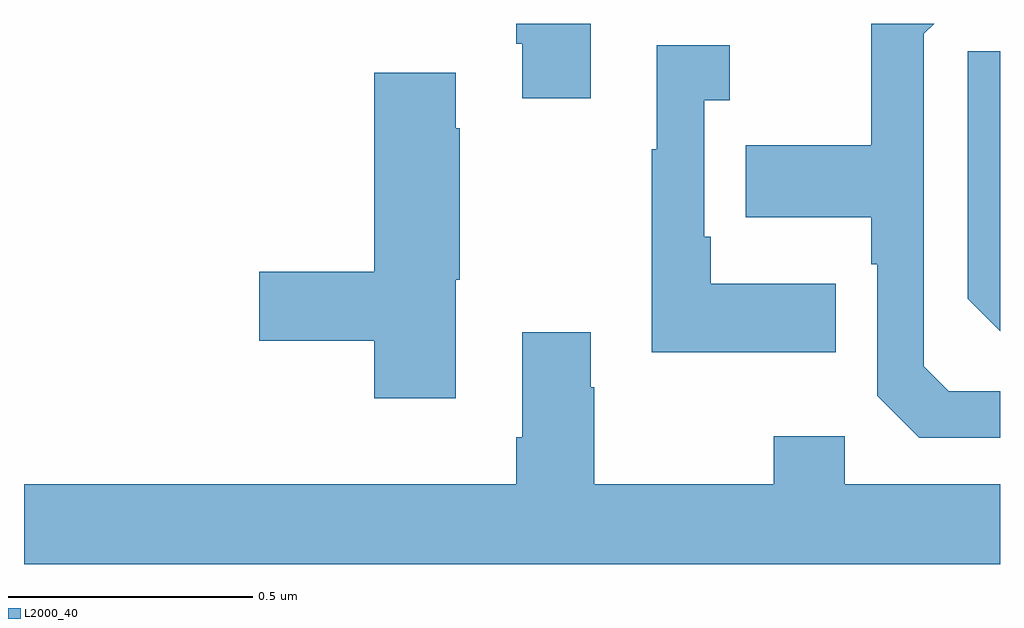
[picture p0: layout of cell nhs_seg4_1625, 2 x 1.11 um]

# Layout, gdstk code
import gdstk
lib = gdstk.Library(unit=1e-6, precision=1e-09)
def P(c, l, *ps):  # polygons
    for p in ps: c.add(gdstk.Polygon(p, *l))
L2000_40 = (2000, 40)

nhs_seg4_1625 = lib.new_cell('nhs_seg4_1625')
P(nhs_seg4_1625, L2000_40, [(131.161,825.9),(131.009,825.9),(131.009,825.859),(131.021,825.859),(131.021,825.747),(131.161,825.747)],
  [(132,825.147),(131.895,825.147),(131.844,825.198),(131.844,825.879),(131.865,825.9),(131.736,825.9),(131.736,825.651),(131.479,825.651),(131.479,825.503),(131.736,825.503),(131.736,825.407),(131.748,825.407),(131.748,825.138),(131.835,825.051),(132,825.051)],
  [(131.663,825.367),(131.407,825.367),(131.407,825.463),(131.394,825.463),(131.394,825.743),(131.446,825.743),(131.446,825.856),(131.297,825.856),(131.297,825.643),(131.286,825.643),(131.286,825.227),(131.663,825.227)],
  [(132,825.843),(131.934,825.843),(131.934,825.336),(132,825.27)],
  [(130.885,825.375),(130.893,825.375),(130.893,825.686),(130.885,825.686),(130.885,825.799),(130.718,825.799),(130.718,825.392),(130.482,825.392),(130.482,825.25),(130.718,825.25),(130.718,825.132),(130.885,825.132)],
  [(132,824.956),(131.682,824.956),(131.682,825.055),(131.536,825.055),(131.536,824.956),(131.169,824.956),(131.169,825.155),(131.161,825.155),(131.161,825.268),(131.021,825.268),(131.021,825.052),(131.009,825.052),(131.009,824.956),(130,824.956),(130,824.792),(132,824.792)])

lib.write_gds('nhs_seg4_1625.gds')
